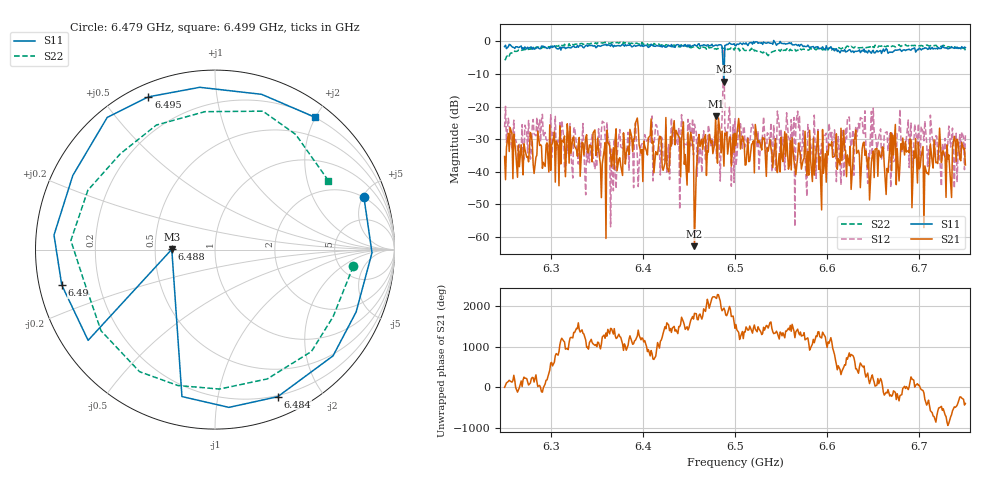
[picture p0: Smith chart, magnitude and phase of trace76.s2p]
# Hz S RI R 50
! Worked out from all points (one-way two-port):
!   401 points, 6.25 GHz to 6.75 GHz, reference 50 ohm
!   highest |S21| = -22.99 dB at 6.479 GHz (marker M1); lowest = -62.9 dB at 6.456 GHz (marker M2)
!   lowest |S11| = -12.4 dB at 6.488 GHz (marker M3), VSWR 1.63, Z = 30.6 + j0.0908 ohm
!   |S11| at or under -10 dB: 6.487564 GHz to 6.488212 GHz (648.8 kHz wide, 0.01 % of centre)
!   |S22| runs from -5.7 to -0.2 dB; largest |S21 - S12| = 0.72
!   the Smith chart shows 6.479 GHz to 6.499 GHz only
!   S11 on the Smith chart (normalised r, x): 6.479 GHz: 1.98, +5.11; 6.484 GHz: 0.19, -1.50; 6.488 GHz: 0.61, +0.00; 6.49 GHz: 0.07, -0.11; 6.495 GHz: 0.05, +0.65; 6.499 GHz: 0.20, +2.00
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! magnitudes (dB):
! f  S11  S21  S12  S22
! 6.25 GHz  -1.6  -35.3  -26.3  -5.7
! 6.334 GHz  -1.3  -31.0  -30.9  -0.6
! 6.349 GHz  -1.9  -35.0  -36.5  -0.4
! 6.359 GHz  -1.1  -31.1  -29.4  -0.2
! 6.368 GHz  -1.7  -32.6  -45.9  -0.3
! 6.376 GHz  -1.4  -38.1  -32.4  -0.3
! 6.418 GHz  -1.4  -29.1  -33.7  -0.8
! 6.451 GHz  -1.1  -30.7  -25.2  -1.9
! 6.456 GHz  -1.0  -62.9  -25.4  -1.6
! 6.479 GHz  -1.1  -23.0  -29.8  -2.2
! 6.484 GHz  -1.0  -28.5  -42.9  -2.2
! 6.488 GHz  -12.4  -38.3  -2.9  -2.2
! 6.49 GHz  -1.1  -28.8  -28.2  -1.9
! 6.495 GHz  -0.6  -29.4  -26.7  -2.3
! 6.499 GHz  -0.7  -34.1  -43.3  -2.6
! 6.5 GHz  -1.3  -28.2  -23.7  -1.9
! 6.584 GHz  -1.6  -43.0  -34.7  -2.5
! 6.668 GHz  -3.2  -32.6  -28.0  -1.3
! 6.689 GHz  -2.4  -34.1  -38.7  -1.1
! 6.708 GHz  -2.1  -40.5  -31.1  -1.1
! 6.724 GHz  -2.1  -37.2  -44.4  -1.6
! 6.75 GHz  -1.9  -37.9  -28.8  -2.7
